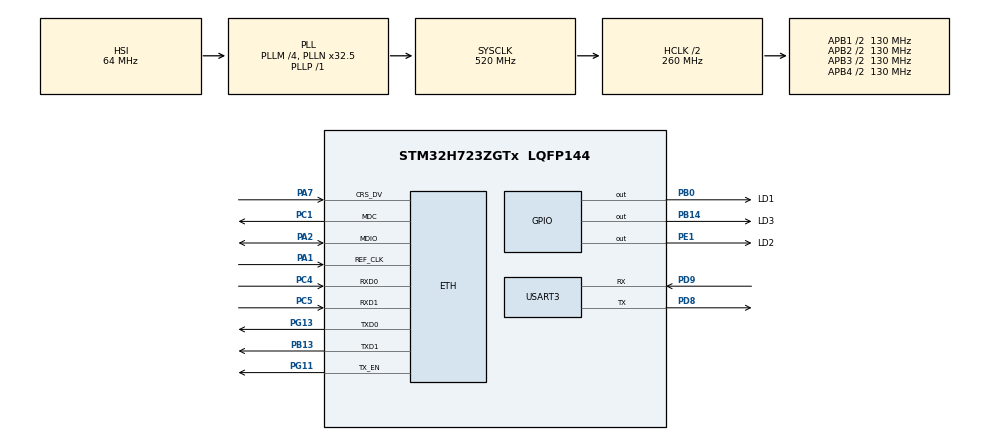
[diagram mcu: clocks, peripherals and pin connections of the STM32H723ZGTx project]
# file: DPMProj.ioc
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CORTEX_M7.AccessPermission-Cortex_Memory_Protection_Unit_Region0_Settings=MPU_REGION_FULL_ACCESS
CORTEX_M7.AccessPermission-Cortex_Memory_Protection_Unit_Region1_Settings=MPU_REGION_FULL_ACCESS
CORTEX_M7.AccessPermission_S-Cortex_Memory_Protection_Unit_Region1_Settings_S=MPU_REGION_FULL_ACCESS
CORTEX_M7.AccessPermission_S-Cortex_Memory_Protection_Unit_Region2_Settings_S=MPU_REGION_FULL_ACCESS
CORTEX_M7.BaseAddress-Cortex_Memory_Protection_Unit_Region0_Settings=0x24030000
CORTEX_M7.BaseAddress-Cortex_Memory_Protection_Unit_Region1_Settings=0x24030000
CORTEX_M7.BaseAddress_S-Cortex_Memory_Protection_Unit_Region1_Settings_S=0x24030000
CORTEX_M7.BaseAddress_S-Cortex_Memory_Protection_Unit_Region2_Settings_S=0x24030000
CORTEX_M7.CPU_DCache=Enabled
CORTEX_M7.CPU_ICache=Enabled
CORTEX_M7.Enable-Cortex_Memory_Protection_Unit_Region0_Settings=MPU_REGION_ENABLE
CORTEX_M7.Enable-Cortex_Memory_Protection_Unit_Region1_Settings=MPU_REGION_ENABLE
CORTEX_M7.Enable_S-Cortex_Memory_Protection_Unit_Region1_Settings_S=MPU_REGION_ENABLE
CORTEX_M7.Enable_S-Cortex_Memory_Protection_Unit_Region2_Settings_S=MPU_REGION_ENABLE
CORTEX_M7.IsBufferable-Cortex_Memory_Protection_Unit_Region1_Settings=MPU_ACCESS_BUFFERABLE
CORTEX_M7.IsBufferable_S-Cortex_Memory_Protection_Unit_Region2_Settings_S=MPU_ACCESS_BUFFERABLE
CORTEX_M7.IsCacheable-Cortex_Memory_Protection_Unit_Region0_Settings=MPU_ACCESS_CACHEABLE
CORTEX_M7.IsCacheable_S-Cortex_Memory_Protection_Unit_Region1_Settings_S=MPU_ACCESS_CACHEABLE
CORTEX_M7.MPU_Control=MPU_PRIVILEGED_DEFAULT
CORTEX_M7.Size-Cortex_Memory_Protection_Unit_Region0_Settings=MPU_REGION_SIZE_128KB
CORTEX_M7.Size-Cortex_Memory_Protection_Unit_Region1_Settings=MPU_REGION_SIZE_256B
CORTEX_M7.Size_S-Cortex_Memory_Protection_Unit_Region1_Settings_S=MPU_REGION_SIZE_128KB
CORTEX_M7.Size_S-Cortex_Memory_Protection_Unit_Region2_Settings_S=MPU_REGION_SIZE_256B
CORTEX_M7.TypeExtField-Cortex_Memory_Protection_Unit_Region0_Settings=MPU_TEX_LEVEL0
CORTEX_M7.default_mode_Activation=1
ETH.MACAddr=00\:80\:E1\:00\:30\:20
ETH.MediaInterface=HAL_ETH_RMII_MODE
ETH.RxBuffLen=1536
ETH.RxDescAddress=0x24030000
ETH.TxDescAddress=0x24030060
Mcu.Family=STM32H7
Mcu.Name=STM32H723ZGTx
Mcu.Package=LQFP144
NVIC.ETH_IRQn=true\:6\:0\:true\:false\:true\:false\:true\:true\:true
NVIC.PriorityGroup=NVIC_PRIORITYGROUP_4
NVIC.TIM6_DAC_IRQn=true\:15\:0\:false\:false\:true\:false\:false\:true\:true
NVIC.TimeBase=TIM6_DAC_IRQn
NVIC.TimeBaseIP=TIM6
PA1.GPIO_Speed=GPIO_SPEED_FREQ_HIGH
PA1.Mode=RMII
PA1.Signal=ETH_REF_CLK
PA2.GPIO_Speed=GPIO_SPEED_FREQ_HIGH
PA2.Mode=RMII
PA2.Signal=ETH_MDIO
PA7.GPIO_Speed=GPIO_SPEED_FREQ_HIGH
PA7.Mode=RMII
PA7.Signal=ETH_CRS_DV
PB0.GPIO_Label=LD1
PB0.Signal=GPIO_Output
PB13.GPIO_Speed=GPIO_SPEED_FREQ_HIGH
PB13.Mode=RMII
PB13.Signal=ETH_TXD1
PB14.GPIO_Label=LD3
PB14.Signal=GPIO_Output
PC1.GPIO_Speed=GPIO_SPEED_FREQ_HIGH
PC1.Mode=RMII
PC1.Signal=ETH_MDC
PC4.GPIO_Speed=GPIO_SPEED_FREQ_HIGH
PC4.Mode=RMII
PC4.Signal=ETH_RXD0
PC5.GPIO_Speed=GPIO_SPEED_FREQ_HIGH
PC5.Mode=RMII
PC5.Signal=ETH_RXD1
PD8.Mode=Asynchronous
PD8.Signal=USART3_TX
PD9.Mode=Asynchronous
PD9.Signal=USART3_RX
PE1.GPIO_Label=LD2
PE1.Signal=GPIO_Output
PG11.GPIO_Speed=GPIO_SPEED_FREQ_HIGH
PG11.Mode=RMII
PG11.Signal=ETH_TX_EN
PG13.GPIO_Speed=GPIO_SPEED_FREQ_HIGH
PG13.Mode=RMII
PG13.Signal=ETH_TXD0
PH0-OSC_IN.Mode=HSE-External-Oscillator
PH0-OSC_IN.Signal=RCC_OSC_IN
ProjectManager.HeapSize=0x200
ProjectManager.StackSize=0x400
ProjectManager.TargetToolchain=STM32CubeIDE
RCC.ADCFreq_Value=192000000
RCC.APB1Freq_Value=130000000
RCC.APB2Freq_Value=130000000
RCC.APB3Freq_Value=130000000
RCC.APB4Freq_Value=130000000
RCC.CortexFreq_Value=520000000
RCC.D1PPRE=RCC_APB3_DIV2
RCC.D2PPRE1=RCC_APB1_DIV2
RCC.D2PPRE2=RCC_APB2_DIV2
RCC.D3PPRE=RCC_APB4_DIV2
RCC.DIVM1=4
RCC.DIVM2=4
RCC.DIVN1=32
RCC.DIVN2=12
RCC.DIVP1=1
RCC.DIVP2=1
RCC.DIVQ1=33
RCC.HCLKFreq_Value=260000000
RCC.HPRE=RCC_HCLK_DIV2
RCC.HSE_VALUE=25000000
RCC.PLL2FRACN=0
RCC.PLLFRACN=4096
RCC.SYSCLKFreq_VALUE=520000000
RCC.SYSCLKSource=RCC_SYSCLKSOURCE_PLLCLK
RCC.USBFreq_Value=15757575.757575758
STMicroelectronics.X-CUBE-AZRTOS-H7.3.4.0.Initialize_DHCP_protocol=true
STMicroelectronics.X-CUBE-AZRTOS-H7.3.4.0.InterfacesCcNetworkJjEthernet=true
STMicroelectronics.X-CUBE-AZRTOS-H7.3.4.0.InterfacesCcNetworkJjEthernetOoInterface=true
STMicroelectronics.X-CUBE-AZRTOS-H7.3.4.0.InterfacesCcNetworkJjEthernetOoPhyOoInterface=LAN8742IiPhyIiInterface
STMicroelectronics.X-CUBE-AZRTOS-H7.3.4.0.NX_APP_IP_INSTANCE_THREAD_SIZE=2 * 1024
STMicroelectronics.X-CUBE-AZRTOS-H7.3.4.0.NX_APP_MEM_POOL_SIZE=30 * 1024
STMicroelectronics.X-CUBE-AZRTOS-H7.3.4.0.NX_APP_PACKET_POOL_SIZE=10
STMicroelectronics.X-CUBE-AZRTOS-H7.3.4.0.NX_APP_THREAD_STACK_SIZE=2 * 1024
STMicroelectronics.X-CUBE-AZRTOS-H7.3.4.0.NX_DHCP_CLIENT_RESTORE_STATE=true
STMicroelectronics.X-CUBE-AZRTOS-H7.3.4.0.NX_DISABLE_ERROR_CHECKING=false
STMicroelectronics.X-CUBE-AZRTOS-H7.3.4.0.NX_DISABLE_IPV6=true
STMicroelectronics.X-CUBE-AZRTOS-H7.3.4.0.NX_DISABLE_RARP_INFO=false
STMicroelectronics.X-CUBE-AZRTOS-H7.3.4.0.NX_ENABLE_INTERFACE_CAPABILITY=true
STMicroelectronics.X-CUBE-AZRTOS-H7.3.4.0.NetXDuoCcNetworkJjNetXDuoJjAddonsOoDHCPOoClient=true
STMicroelectronics.X-CUBE-AZRTOS-H7.3.4.0.NetXDuoCcNetworkJjNetXDuoJjNXOoCore=true
STMicroelectronics.X-CUBE-AZRTOS-H7.3.4.0.STM32CubeIiBSPIiComponentsCcBoardOoPartJjETHPhyJjLAN8742=true
STMicroelectronics.X-CUBE-AZRTOS-H7.3.4.0.ThreadXCcRTOSJjThreadXJjCore=true
STMicroelectronics.X-CUBE-AZRTOS-H7.3.4.0_IsAnAzureRtosMw=true
USART3.VirtualMode-Asynchronous=VM_ASYNC
VP_MEMORYMAP_VS_MEMORYMAP.Mode=CurAppReg
VP_STMicroelectronics.X-CUBE-AZRTOS-H7_VS_BoardOoPartJjSTM32CubeIiBSPIiComponents_3.4.0_3.4.0.Mode=BoardOoPartJjSTM32CubeIiBSPIiComponents
VP_STMicroelectronics.X-CUBE-AZRTOS-H7_VS_NetworkJjInterfaces_3.4.0_3.4.0.Mode=NetworkJjInterfaces
VP_STMicroelectronics.X-CUBE-AZRTOS-H7_VS_NetworkJjNetXDuo_6.4.0_3.4.0.Mode=NetworkJjNetXDuo
VP_STMicroelectronics.X-CUBE-AZRTOS-H7_VS_RTOSJjThreadX_6.4.0_3.4.0.Mode=RTOSJjThreadX
VP_SYS_VS_tim6.Mode=TIM6
board=custom

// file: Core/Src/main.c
/* USER CODE BEGIN Header */
/**
  ******************************************************************************
  * @file           : main.c
  * @brief          : Main program body
  ******************************************************************************
  * @attention
  *
  * Copyright (c) 2021 STMicroelectronics.
  * All rights reserved.
  *
  * This software is licensed under terms that can be found in the LICENSE file
  * in the root directory of this software component.
  * If no LICENSE file comes with this software, it is provided AS-IS.
  *
  ******************************************************************************
  */
/* USER CODE END Header */
#include "app_threadx.h"
#include "main.h"
#include "string.h"

/* USER CODE BEGIN Includes */
#if defined(__ICCARM__)
#include <LowLevelIOInterface.h>
#endif /* __ICCARM__ */
#include "app_netxduo.h"
/* USER CODE END Includes */

/* USER CODE BEGIN PD */
#if defined(__ICCARM__)
/* New definition from EWARM V9, compatible with EWARM8 */
int iar_fputc(int ch);
#define PUTCHAR_PROTOTYPE  int iar_fputc(int ch)
#elif defined ( __CC_ARM ) || defined(__ARMCC_VERSION)
/* ARM Compiler 5/6*/
#define PUTCHAR_PROTOTYPE int fputc(int ch, FILE *f)
#elif defined(__GNUC__)
#define PUTCHAR_PROTOTYPE int __io_putchar(int ch)
#endif /* __ICCARM__ */

/* USER CODE END PD */

#if defined ( __ICCARM__ ) /*!< IAR Compiler */
#pragma location=0x24030000
ETH_DMADescTypeDef  DMARxDscrTab[ETH_RX_DESC_CNT]; /* Ethernet Rx DMA Descriptors */
#pragma location=0x24030060
ETH_DMADescTypeDef  DMATxDscrTab[ETH_TX_DESC_CNT]; /* Ethernet Tx DMA Descriptors */

#elif defined ( __CC_ARM )  /* MDK ARM Compiler */

__attribute__((at(0x24030000))) ETH_DMADescTypeDef  DMARxDscrTab[ETH_RX_DESC_CNT]; /* Ethernet Rx DMA Descriptors */
__attribute__((at(0x24030060))) ETH_DMADescTypeDef  DMATxDscrTab[ETH_TX_DESC_CNT]; /* Ethernet Tx DMA Descriptors */

#elif defined ( __GNUC__ ) /* GNU Compiler */

ETH_DMADescTypeDef DMARxDscrTab[ETH_RX_DESC_CNT] __attribute__((section(".RxDescripSection"))); /* Ethernet Rx DMA Descriptors */
ETH_DMADescTypeDef DMATxDscrTab[ETH_TX_DESC_CNT] __attribute__((section(".TxDescripSection")));   /* Ethernet Tx DMA Descriptors */
#endif

ETH_TxPacketConfig TxConfig;

ETH_HandleTypeDef heth;

UART_HandleTypeDef huart3;

void SystemClock_Config(void);
static void MPU_Config(void);
static void MX_GPIO_Init(void);
static void MX_ETH_Init(void);
static void MX_USART3_UART_Init(void);

int main(void)
{

  /* MPU Configuration--------------------------------------------------------*/
  MPU_Config();

  /* Enable the CPU Cache */

  /* Enable I-Cache---------------------------------------------------------*/
  SCB_EnableICache();

  /* Enable D-Cache---------------------------------------------------------*/
  SCB_EnableDCache();

  /* MCU Configuration--------------------------------------------------------*/

  /* Reset of all peripherals, Initializes the Flash interface and the Systick. */
  HAL_Init();

  /* Configure the system clock */
  SystemClock_Config();

  /* Initialize all configured peripherals */
  MX_GPIO_Init();
  MX_ETH_Init();
  MX_USART3_UART_Init();
  /* USER CODE BEGIN 2 */
  printf("DPM Operational\n");
  /* USER CODE END 2 */

  MX_ThreadX_Init();

  /* We should never get here as control is now taken by the scheduler */

  /* Infinite loop */
  while (1)
  {

  }
}

void SystemClock_Config(void)
{
  RCC_OscInitTypeDef RCC_OscInitStruct = {0};
  RCC_ClkInitTypeDef RCC_ClkInitStruct = {0};

  /** Supply configuration update enable
  */
  HAL_PWREx_ConfigSupply(PWR_LDO_SUPPLY);

  /** Configure the main internal regulator output voltage
  */
  __HAL_PWR_VOLTAGESCALING_CONFIG(PWR_REGULATOR_VOLTAGE_SCALE0);

  while(!__HAL_PWR_GET_FLAG(PWR_FLAG_VOSRDY)) {}

  /** Initializes the RCC Oscillators according to the specified parameters
  * in the RCC_OscInitTypeDef structure.
  */
  RCC_OscInitStruct.OscillatorType = RCC_OSCILLATORTYPE_HSI;
  RCC_OscInitStruct.HSIState = RCC_HSI_DIV1;
  RCC_OscInitStruct.HSICalibrationValue = 64;
  RCC_OscInitStruct.PLL.PLLState = RCC_PLL_ON;
  RCC_OscInitStruct.PLL.PLLSource = RCC_PLLSOURCE_HSI;
  RCC_OscInitStruct.PLL.PLLM = 4;
  RCC_OscInitStruct.PLL.PLLN = 32;
  RCC_OscInitStruct.PLL.PLLP = 1;
  RCC_OscInitStruct.PLL.PLLQ = 33;
  RCC_OscInitStruct.PLL.PLLR = 2;
  RCC_OscInitStruct.PLL.PLLRGE = RCC_PLL1VCIRANGE_3;
  RCC_OscInitStruct.PLL.PLLVCOSEL = RCC_PLL1VCOWIDE;
  RCC_OscInitStruct.PLL.PLLFRACN = 4096;
  if (HAL_RCC_OscConfig(&RCC_OscInitStruct) != HAL_OK)
  {
    Error_Handler();
  }

  /** Initializes the CPU, AHB and APB buses clocks
  */
  RCC_ClkInitStruct.ClockType = RCC_CLOCKTYPE_HCLK|RCC_CLOCKTYPE_SYSCLK
                              |RCC_CLOCKTYPE_PCLK1|RCC_CLOCKTYPE_PCLK2
                              |RCC_CLOCKTYPE_D3PCLK1|RCC_CLOCKTYPE_D1PCLK1;
  RCC_ClkInitStruct.SYSCLKSource = RCC_SYSCLKSOURCE_PLLCLK;
  RCC_ClkInitStruct.SYSCLKDivider = RCC_SYSCLK_DIV1;
  RCC_ClkInitStruct.AHBCLKDivider = RCC_HCLK_DIV2;
  RCC_ClkInitStruct.APB3CLKDivider = RCC_APB3_DIV2;
  RCC_ClkInitStruct.APB1CLKDivider = RCC_APB1_DIV2;
  RCC_ClkInitStruct.APB2CLKDivider = RCC_APB2_DIV2;
  RCC_ClkInitStruct.APB4CLKDivider = RCC_APB4_DIV2;

  if (HAL_RCC_ClockConfig(&RCC_ClkInitStruct, FLASH_LATENCY_3) != HAL_OK)
  {
    Error_Handler();
  }
}

static void MX_ETH_Init(void)
{

   static uint8_t MACAddr[6];

  heth.Instance = ETH;
  MACAddr[0] = 0x00;
  MACAddr[1] = 0x80;
  MACAddr[2] = 0xE1;
  MACAddr[3] = 0x00;
  MACAddr[4] = 0x30;
  MACAddr[5] = 0x25;
  heth.Init.MACAddr = &MACAddr[0];
  heth.Init.MediaInterface = HAL_ETH_RMII_MODE;
  heth.Init.TxDesc = DMATxDscrTab;
  heth.Init.RxDesc = DMARxDscrTab;
  heth.Init.RxBuffLen = 1536;

  if (HAL_ETH_Init(&heth) != HAL_OK)
  {
    Error_Handler();
  }

  memset(&TxConfig, 0 , sizeof(ETH_TxPacketConfig));
  TxConfig.Attributes = ETH_TX_PACKETS_FEATURES_CSUM | ETH_TX_PACKETS_FEATURES_CRCPAD;
  TxConfig.ChecksumCtrl = ETH_CHECKSUM_IPHDR_PAYLOAD_INSERT_PHDR_CALC;
  TxConfig.CRCPadCtrl = ETH_CRC_PAD_INSERT;

}

static void MX_USART3_UART_Init(void)
{

  huart3.Instance = USART3;
  huart3.Init.BaudRate = 115200;
  huart3.Init.WordLength = UART_WORDLENGTH_8B;
  huart3.Init.StopBits = UART_STOPBITS_1;
  huart3.Init.Parity = UART_PARITY_NONE;
  huart3.Init.Mode = UART_MODE_TX_RX;
  huart3.Init.HwFlowCtl = UART_HWCONTROL_NONE;
  huart3.Init.OverSampling = UART_OVERSAMPLING_16;
  huart3.Init.OneBitSampling = UART_ONE_BIT_SAMPLE_DISABLE;
  huart3.Init.ClockPrescaler = UART_PRESCALER_DIV1;
  huart3.AdvancedInit.AdvFeatureInit = UART_ADVFEATURE_NO_INIT;
  if (HAL_UART_Init(&huart3) != HAL_OK)
  {
    Error_Handler();
  }
  if (HAL_UARTEx_SetTxFifoThreshold(&huart3, UART_TXFIFO_THRESHOLD_1_8) != HAL_OK)
  {
    Error_Handler();
  }
  if (HAL_UARTEx_SetRxFifoThreshold(&huart3, UART_RXFIFO_THRESHOLD_1_8) != HAL_OK)
  {
    Error_Handler();
  }
  if (HAL_UARTEx_DisableFifoMode(&huart3) != HAL_OK)
  {
    Error_Handler();
  }

}

static void MX_GPIO_Init(void)
{
  GPIO_InitTypeDef GPIO_InitStruct = {0};

  /* GPIO Ports Clock Enable */
  __HAL_RCC_GPIOH_CLK_ENABLE();
  __HAL_RCC_GPIOC_CLK_ENABLE();
  __HAL_RCC_GPIOA_CLK_ENABLE();
  __HAL_RCC_GPIOB_CLK_ENABLE();
  __HAL_RCC_GPIOD_CLK_ENABLE();
  __HAL_RCC_GPIOG_CLK_ENABLE();
  __HAL_RCC_GPIOE_CLK_ENABLE();

  /*Configure GPIO pin Output Level */
  HAL_GPIO_WritePin(GPIOB, LD1_Pin|LD3_Pin, GPIO_PIN_RESET);

  /*Configure GPIO pin Output Level */
  HAL_GPIO_WritePin(LD2_GPIO_Port, LD2_Pin, GPIO_PIN_RESET);

  /*Configure GPIO pins : LD1_Pin LD3_Pin */
  GPIO_InitStruct.Pin = LD1_Pin|LD3_Pin;
  GPIO_InitStruct.Mode = GPIO_MODE_OUTPUT_PP;
  GPIO_InitStruct.Pull = GPIO_NOPULL;
  GPIO_InitStruct.Speed = GPIO_SPEED_FREQ_LOW;
  HAL_GPIO_Init(GPIOB, &GPIO_InitStruct);

  /*Configure GPIO pin : LD2_Pin */
  GPIO_InitStruct.Pin = LD2_Pin;
  GPIO_InitStruct.Mode = GPIO_MODE_OUTPUT_PP;
  GPIO_InitStruct.Pull = GPIO_NOPULL;
  GPIO_InitStruct.Speed = GPIO_SPEED_FREQ_LOW;
  HAL_GPIO_Init(LD2_GPIO_Port, &GPIO_InitStruct);

}

/* USER CODE BEGIN 4 */
/**
  * @brief  Retargets the C library __write function to the IAR function iar_fputc.
  * @param  file: file descriptor.
  * @param  ptr: pointer to the buffer where the data is stored.
  * @param  len: length of the data to write in bytes.
  * @retval length of the written data in bytes.
  */
#if defined(__ICCARM__)
size_t __write(int file, unsigned char const *ptr, size_t len)
{
  size_t idx;
  unsigned char const *pdata = ptr;

  for (idx = 0; idx < len; idx++)
  {
    iar_fputc((int)*pdata);
    pdata++;
  }
  return len;
}
#endif /* __ICCARM__ */

/**
  * @brief  Retargets the C library printf function to the USART.
  * @param  None
  * @retval None
  */
PUTCHAR_PROTOTYPE
{
  HAL_UART_Transmit(&huart3, (uint8_t *)&ch, 1, 0xFFFF);
  return ch;
}

/**
* @brief  This function is executed in case of success.
* @retval None
*/
void Success_Handler(void)
{
  /* USER CODE BEGIN Success_Handler_Debug */
  HAL_GPIO_WritePin(LD1_GPIO_Port, LD1_Pin, GPIO_PIN_RESET);
  while(1)
  {
    HAL_GPIO_TogglePin(LD2_GPIO_Port, LD2_Pin);
    HAL_Delay(1000);
  }
  /* USER CODE END Success_Handler_Debug */
}

/* USER CODE END 4 */

 /* MPU Configuration */

void MPU_Config(void)
{
  MPU_Region_InitTypeDef MPU_InitStruct = {0};

  /* Disables the MPU */
  HAL_MPU_Disable();

  /** Initializes and configures the Region and the memory to be protected
  */
  MPU_InitStruct.Enable = MPU_REGION_ENABLE;
  MPU_InitStruct.Number = MPU_REGION_NUMBER0;
  MPU_InitStruct.BaseAddress = 0x0;
  MPU_InitStruct.Size = MPU_REGION_SIZE_4GB;
  MPU_InitStruct.SubRegionDisable = 0x87;
  MPU_InitStruct.TypeExtField = MPU_TEX_LEVEL0;
  MPU_InitStruct.AccessPermission = MPU_REGION_NO_ACCESS;
  MPU_InitStruct.DisableExec = MPU_INSTRUCTION_ACCESS_DISABLE;
  MPU_InitStruct.IsShareable = MPU_ACCESS_SHAREABLE;
  MPU_InitStruct.IsCacheable = MPU_ACCESS_NOT_CACHEABLE;
  MPU_InitStruct.IsBufferable = MPU_ACCESS_NOT_BUFFERABLE;

  HAL_MPU_ConfigRegion(&MPU_InitStruct);

  /** Initializes and configures the Region and the memory to be protected
  */
  MPU_InitStruct.Number = MPU_REGION_NUMBER1;
  MPU_InitStruct.BaseAddress = 0x24030000;
  MPU_InitStruct.Size = MPU_REGION_SIZE_128KB;
  MPU_InitStruct.SubRegionDisable = 0x0;
  MPU_InitStruct.AccessPermission = MPU_REGION_FULL_ACCESS;
  MPU_InitStruct.DisableExec = MPU_INSTRUCTION_ACCESS_ENABLE;
  MPU_InitStruct.IsShareable = MPU_ACCESS_NOT_SHAREABLE;
  MPU_InitStruct.IsCacheable = MPU_ACCESS_CACHEABLE;

  HAL_MPU_ConfigRegion(&MPU_InitStruct);

  /** Initializes and configures the Region and the memory to be protected
  */
  MPU_InitStruct.Number = MPU_REGION_NUMBER2;
  MPU_InitStruct.Size = MPU_REGION_SIZE_256B;
  MPU_InitStruct.IsCacheable = MPU_ACCESS_NOT_CACHEABLE;
  MPU_InitStruct.IsBufferable = MPU_ACCESS_BUFFERABLE;

  HAL_MPU_ConfigRegion(&MPU_InitStruct);
  /* Enables the MPU */
  HAL_MPU_Enable(MPU_PRIVILEGED_DEFAULT);

}

void HAL_TIM_PeriodElapsedCallback(TIM_HandleTypeDef *htim)
{
  if (htim->Instance == TIM6)
  {
    HAL_IncTick();
  }
}

void Error_Handler(void)
{
  /* USER CODE BEGIN Error_Handler_Debug */
  HAL_GPIO_WritePin(LD2_GPIO_Port, LD2_Pin, GPIO_PIN_RESET);
  while (1)
  {
    HAL_GPIO_TogglePin(LD1_GPIO_Port, LD1_Pin);
    HAL_Delay(1000);
  }
  /* USER CODE END Error_Handler_Debug */
}
